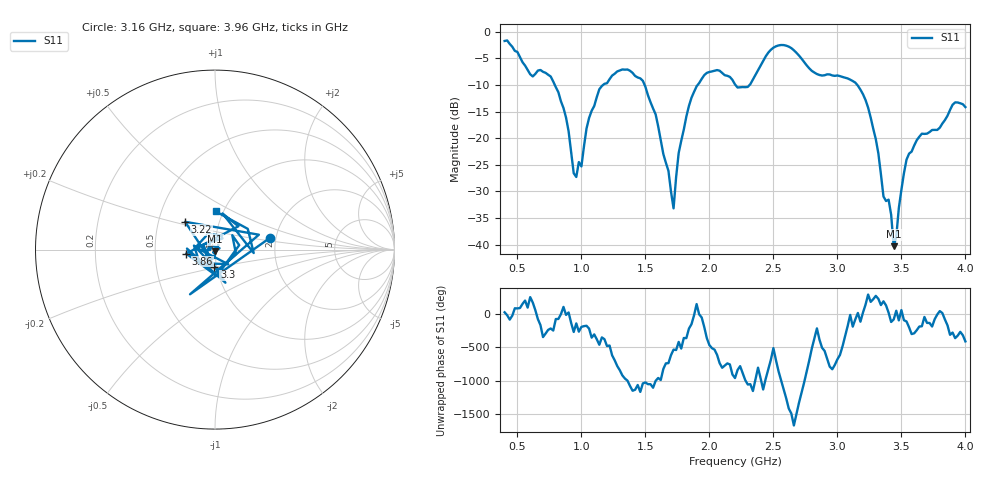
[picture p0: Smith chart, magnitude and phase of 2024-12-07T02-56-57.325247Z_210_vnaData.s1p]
!Created with skrf (http://scikit-rf.org).
# Hz S RI R 50.0
!freq ReS11 ImS11
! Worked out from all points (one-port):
!   181 points, 400 MHz to 4 GHz, reference 50 ohm
!   lowest |S11| = -40.3 dB at 3.44 GHz (marker M1), VSWR 1.02, Z = 50.1 - j0.967 ohm
!   |S11| at or under -10 dB: 791.9 MHz to 1.17 GHz (378.3 MHz wide, 38.6 % of centre); 1.494 GHz to 1.909 GHz (415.3 MHz wide, 24.4 % of centre); 3.155 GHz to end of sweep (the widest 3 of 4)
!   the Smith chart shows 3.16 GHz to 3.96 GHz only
!   S11 on the Smith chart (normalised r, x): 3.16 GHz: 1.85, +0.26; 3.22 GHz: 0.68, +0.22; 3.3 GHz: 0.97, -0.19; 3.86 GHz: 0.72, -0.03; 3.96 GHz: 0.92, +0.41
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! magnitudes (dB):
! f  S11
! 400 MHz  -1.8
! 620 MHz  -8.4
! 760 MHz  -8.4
! 860 MHz  -14.3
! 960 MHz  -27.3
! 1.14 GHz  -10.8
! 1.3 GHz  -7.3
! 1.5 GHz  -10.4
! 1.58 GHz  -15.5
! 1.72 GHz  -33.2
! 1.76 GHz  -22.8
! 1.86 GHz  -12.4
! 1.96 GHz  -8.2
! 2.2 GHz  -9.9
! 2.3 GHz  -10.4
! 2.5 GHz  -3.0
! 2.66 GHz  -3.5
! 3.1 GHz  -9.0
! 3.16 GHz  -10.1
! 3.22 GHz  -12.9
! 3.3 GHz  -20.2
! 3.36 GHz  -31.0
! 3.42 GHz  -34.4
! 3.44 GHz  -40.3
! 3.56 GHz  -22.9
! 3.86 GHz  -15.8
! 3.96 GHz  -13.5
! 4 GHz  -14.2
